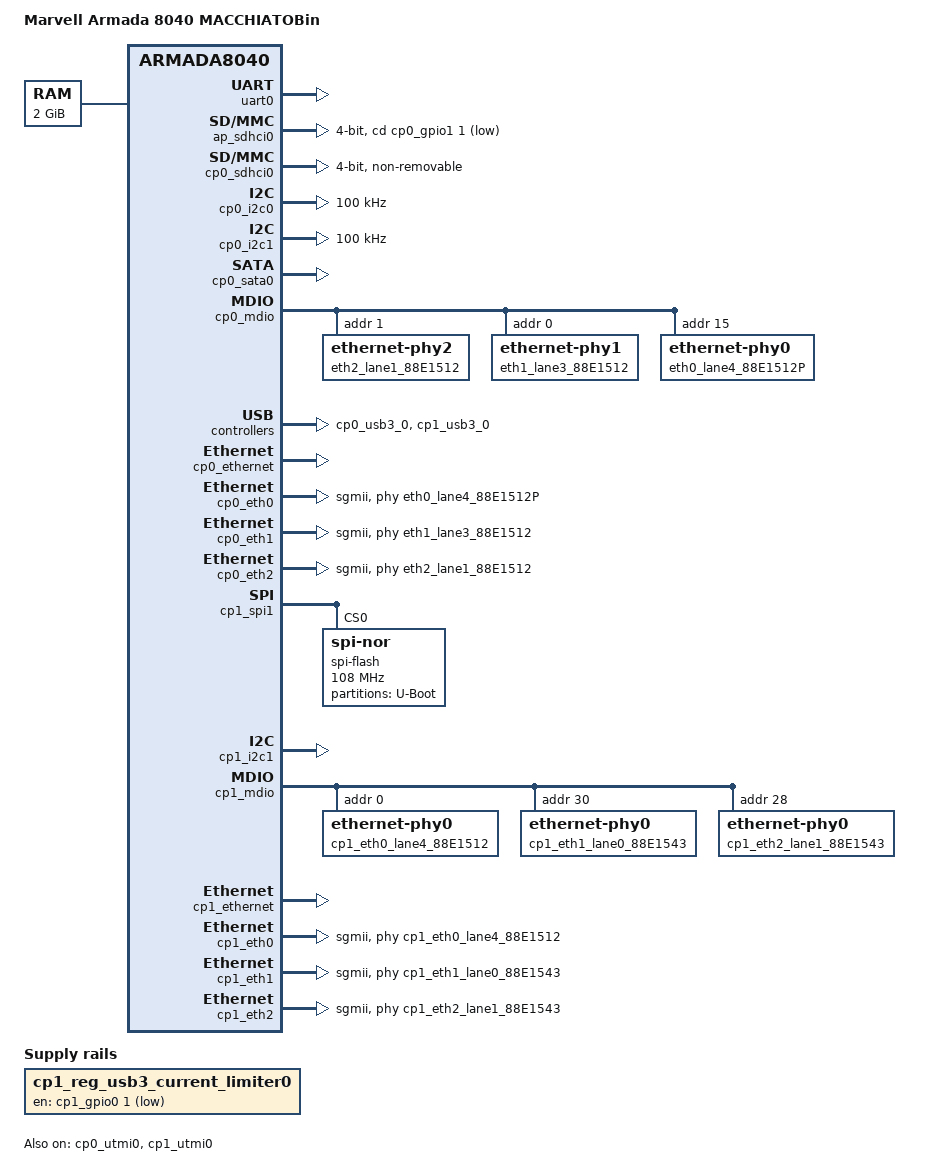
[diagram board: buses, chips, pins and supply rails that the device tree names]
/*
 * Copyright (C) 2016 Marvell International Ltd.
 *
 * SPDX-License-Identifier:	GPL-2.0
 * https://spdx.org/licenses
 */

#include "armada-80x0-db.dtsi" /* include SoC device tree */

/ {
	model = "Marvell Armada 8040 MACCHIATOBin";
	compatible = "marvell,armada8040-mcbin",
		     "marvell,armada8040";

	chosen {
		stdout-path = "serial0:115200n8";
	};

	aliases {
		spi0 = &cp1_spi1;
		gpio0 = &ap_gpio0;
		gpio1 = &cp1_gpio0;
		gpio2 = &cp0_gpio1;
		ethernet0 = &cp0_eth0;
		ethernet1 = &cp0_eth1;
		ethernet2 = &cp0_eth2;
		ethernet3 = &cp1_eth0;
		ethernet4 = &cp1_eth1;
		ethernet5 = &cp1_eth2;
		i2c0 = &cp0_i2c0;
		i2c1 = &cp0_i2c1;
		i2c2 = &cp1_i2c1;
	};

	memory@00000000 {
		device_type = "memory";
		reg = <0x0 0x0 0x0 0x80000000>;
	};

	cp1 {
		config-space {
			cp1_reg_usb3_current_limiter0:cp1_usb3_current_limiter@0 {
				compatible = "regulator-fixed";
				regulator-min-microamp = <900000>;
				regulator-max-microamp = <900000>;
				regulator-force-boot-off;
				gpio = <&cp1_gpio0 1 GPIO_ACTIVE_HIGH>;
			};
		};
	};
};

/* Accessible over the mini-USB CON9 connector on the main board */
&uart0 {
	status = "okay";
};

&ap_hd_efuse0 {
	status = "disabled";
};

&ap_ld_efuse0 {
	status = "disabled";
};

&ap_ld_efuse1 {
	status = "disabled";
};

&ap_pinctl {
	/*
	 * MPP Bus:
	 * eMMC [0-5]		value 1
	 * TPM_RST/PIRQ	gpio	value 0
	 * UART0 [11,19]	value 3
	 */
		  /* 0 1 2 3 4 5 6 7 8 9 */
	pin-func = < 1 1 1 1 1 1 0 0 0 0
		     0 3 0 0 0 0 0 0 0 3 >;

	ap_emmc_4bit_pins: emmc-4_bit_pins-0 {
                marvell,pins = < 0 1 2 3 4 5 >;
                marvell,function = <1>;
        };
};

/* SD MPP[5:0] */
&ap_sdhci0 {
	pinctrl-names = "default";
	pinctrl-0 = <&ap_emmc_4bit_pins>;
	bus-width = <4>;
	cd-gpios = <&cp0_gpio1 1 GPIO_ACTIVE_LOW>;
	status = "okay";
};

&cp0_pinctl {
	/*
	 * MPP Bus:
	 * [0-31] = 0xff: Keep default CP0_shared_pins:
	 * [32 34] MDIO  	value 7
	 * [33] SD Card Detect	value 0
	 * [35-36] I2C1		value 2
	 * [36-37] I2C0		value 2
	 * [39-44] leds		value 0
	 * [47-50] spi1		value 5
	 * [51-53] sfp led tx	value 0
	 * [54-55] NCT		value 0
	 * [56-61] EMMC		value 0xE
	 * [62] EMMC Reset Pin	value 0
	 */
		/*   0    1    2    3    4    5    6    7    8    9 */
	pin-func = < 0xff 0xff 0xff 0xff 0xff 0xff 0xff 0xff 0xff 0xff
		     0xff 0xff 0xff 0xff 0xff 0xff 0xff 0xff 0xff 0xff
		     0xff 0xff 0xff 0xff 0xff 0xff 0xff 0xff 0xff 0xff
		     0xff 0    7    0    7    2    2    2    2    0
		     0    0    0    0    0    0    0    5    5    5
		     5    0    0    0    0    0    0xe  0xe  0xe  0xe
		     0xe  0xe  0 >;

	cp0_mdio_pins: cp0-mdio-pins {
		marvell,pins = < 32 34 >;
		marvell,function = <7>;
	};

	cp0_ap_sd_detect_pins: cp0-ap-sd-detect-pins {
		marvell,pins = < 33 >;
		marvell,function = <0>;
	};

	cp0_leds_pins: cp0-leds-pins {
		marvell,pins = < 39 40 41 42 43 44 >;
		marvell,function = <0>;
	};

	cp0_spi1_pins: cp0-spi1-pins {
		marvell,pins = < 47 48 49 50 >;
		marvell,function = <5>;
	};
};

&cp0_gpio0 {
	status = "disabled";
};

/* on-board emmc */
&cp0_sdhci0 {
	pinctrl-names = "default";
	pinctrl-0 = <&cp0_sdhci_pins>;
	bus-width= <4>;
	mmc-hs200-1_8v;
	non-removable;
	status = "okay";
};

/* PCIe x4 */
&cp0_pcie0 {
	num-lanes = <4>;
	status = "disabled";
};

&cp0_i2c0 {
	pinctrl-names = "default";
	pinctrl-0 = <&cp0_i2c0_pins>;
	status = "okay";
	clock-frequency = <100000>;
};

&cp0_i2c1 {
	pinctrl-names = "default";
	pinctrl-0 = <&cp0_i2c1_pins>;
	status = "okay";
	clock-frequency = <100000>;
};

&cp0_sata0 {
	status = "okay";
};

&cp0_ld_efuse0 {
	status = "disabled";
};

&cp0_ld_efuse1 {
	status = "disabled";
};

&cp0_comphy {
	/*
	 * CP0 Serdes Configuration:
	 * Lane 0: SATA1
	 * Lane 1: SGMII2
	 * Lane 2: USB0
	 * Lane 3: SGMII1
	 * Lane 4: SGMII0
	 * Lane 5: unused
	 */
	phy0 {
		phy-type = <COMPHY_TYPE_SATA1>;
	};
	phy1 {
		phy-type = <COMPHY_TYPE_SGMII2>;
		phy-speed = <COMPHY_SPEED_1_25G>;
	};
	phy2 {
		phy-type = <COMPHY_TYPE_USB3_HOST0>;
	};
	phy3 {
		phy-type = <COMPHY_TYPE_SGMII1>;
		phy-speed = <COMPHY_SPEED_1_25G>;
	};
	phy4 {
		phy-type = <COMPHY_TYPE_SGMII0>;
		phy-speed = <COMPHY_SPEED_1_25G>;
	};
	phy5 {
		phy-type = <COMPHY_TYPE_UNCONNECTED>;
	};
};

&cp0_mdio {
	pinctrl-names = "default";
	pinctrl-0 = <&cp0_mdio_pins>;
	status = "okay";

	eth2_lane1_88E1512: ethernet-phy2@1 {
		reg = <1>;
	};

	eth1_lane3_88E1512: ethernet-phy1@0 {
		reg = <0>;
	};

	eth0_lane4_88E1512P: ethernet-phy0@f {
		reg = <0xF>;
	};
};

&cp0_xmdio {
	status = "disabled";
	sfi_phy0: ethernet-phy@0 {
		reg = <0>;
	};

	sfi_phy8: ethernet-phy@8 {
		reg = <8>;
	};
};

&cp0_usb3_0 {
	status = "okay";
};

&cp0_utmi0 {
	status = "okay";
};

&cp0_ethernet {
	pinctrl-names = "default";
	status = "okay";
};

&cp0_eth0 {
	status = "okay";
	phy-mode = "sgmii";
	phy = <&eth0_lane4_88E1512P>;
};

&cp0_eth1 {
	status = "okay";
	phy-mode = "sgmii";
	phy = <&eth1_lane3_88E1512>;
};

&cp0_eth2 {
	status = "okay";
	phy-mode = "sgmii";
	phy = <&eth2_lane1_88E1512>;
};

&cp1_sata0 {
	status = "disabled";
};

&cp1_usb3_0 {
	current-limiter = <&cp1_reg_usb3_current_limiter0>;
	/delete-property/ vbus-supply;
	/delete-property/ vbus-disable-delay;
	status = "okay";
};

&cp1_utmi0 {
	status = "okay";
};

&cp1_gpio1 {
	status = "disabled";
};

&cp1_pinctl {
	/*
	 * MPP Bus:
	 * [0] VPD_ROM_WP		value 0
	 * [1] USB_OC#			value 0
	 * [2-3] I2C1			value 7
	 * [4~6] WDT 			value 0
	 * [7]   CP1 SFP ACT		value 0
	 * [8]   CP1 SFP 1G_LED		value 0
	 * [10]  CP1 SFP TX Disable	value 0
	 * [12]  Load Default 		value 0
	 * [13-16]  SPI1 		value 3
	 * [27-28]  MDIO		value 8
	 * [29-30]  MSS_I2C		value 8
	 * [31]  unused			value 0
	 * [32-62] = 0xff: Keep default CP1_shared_pins:
	 */
		/*   0    1    2    3    4    5    6    7    8    9 */
	pin-func = < 0x0  0x0  0x7  0x7  0x0  0x0  0x0  0x0  0x0  0xff
		     0x0  0xff 0x0  0x3  0x3  0x3  0x3  0xff 0xff 0xff
		     0xff 0xff 0xff 0xff 0xff 0xff 0xff 0x8  0x8  0x8
		     0x8  0x0  0xff 0xff 0xff 0xff 0xff 0xff 0xff 0xff
		     0xff 0xff 0xff 0xff 0xff 0xff 0xff 0xff 0xff 0xff
		     0xff 0xff 0xff 0xff 0xff 0xff 0xff 0xff 0xff 0xff
		     0xff 0xff 0xff>;

	cp1_mdio_pins: cp1-mdio-pins {
		marvell,pins = < 27 28 >;
		marvell,function = <8>;
	};

	cp1_i2c1_pins: cp1-i2c1-pins {
		marvell,pins = < 2 3 >;
		marvell,function = <7>;
	};
};

&cp1_spi1 {
	pinctrl-names = "default";
	pinctrl-0 = <&cp1_spi1_pins>;
	reg = <0x700680 0x50>,		/* control */
	      <0x2000000 0x1000000>,	/* CS0 */
	      <0 0xffffffff>;		/* CS1 */
	status = "okay";

	spi-flash@0 {
		#address-cells = <1>;
		#size-cells = <1>;
		compatible = "jedec,spi-nor", "spi-flash";
		reg = <0>;
		spi-max-frequency = <108000000>;

		partitions {
			compatible = "fixed-partitions";
			#address-cells = <1>;
			#size-cells = <1>;

			partition@0 {
				label = "U-Boot";
				reg = <0 0x200000>;
			};
		};
	};
};

&cp1_i2c1 {
	pinctrl-names = "default";
	pinctrl-0 = <&cp1_i2c1_pins>;
	status = "okay";
};

&cp1_ld_efuse0 {
	status = "disabled";
};

&cp1_ld_efuse1 {
	status = "disabled";
};

&cp1_comphy {
	/*
	 * CP1 Serdes Configuration:
	 * Lane 0: SGMII11
	 * Lane 1: SGMII12
	 * Lane 2: USB HOST 0
	 * Lane 3: unused
	 * Lane 4: SGMII10
	 * Lane 5: unused
	 */
	phy0 {
		phy-type = <COMPHY_TYPE_SGMII1>;
		phy-speed = <COMPHY_SPEED_1_25G>;
	};
	phy1 {
		phy-type = <COMPHY_TYPE_SGMII2>;
		phy-speed = <COMPHY_SPEED_1_25G>;
	};
	phy2 {
		phy-type = <COMPHY_TYPE_USB3_HOST0>;
	};
	phy3 {
		phy-type = <COMPHY_TYPE_UNCONNECTED>;
	};
	phy4 {
		phy-type = <COMPHY_TYPE_SGMII0>;
		phy-speed = <COMPHY_SPEED_1_25G>;
	};
	phy5 {
		phy-type = <COMPHY_TYPE_UNCONNECTED>;
	};
};

&cp1_mdio {
	pinctrl-names = "default";
	pinctrl-0 = <&cp1_mdio_pins>;
	status = "okay";

	cp1_eth0_lane4_88E1512: ethernet-phy0@0 {
		reg = <0>;
	};

	cp1_eth1_lane0_88E1543: ethernet-phy0@1E {
		reg = <0x1E>;
	};

	cp1_eth2_lane1_88E1543: ethernet-phy0@1C {
		reg = <0x1C>;
	};
};

&cp1_ethernet {
	status = "okay";
};

/* 88E1543 */
&cp1_eth0 {
	status = "okay";
	phy-mode = "sgmii";
	phy = <&cp1_eth0_lane4_88E1512>;
};

/* 88E1543 */
&cp1_eth1 {
	status = "okay";
	phy-mode = "sgmii";
	phy = <&cp1_eth1_lane0_88E1543>;
};

/* 88E1512 */
&cp1_eth2 {
	status = "okay";
	phy-mode = "sgmii";
	phy = <&cp1_eth2_lane1_88E1543>;
};
